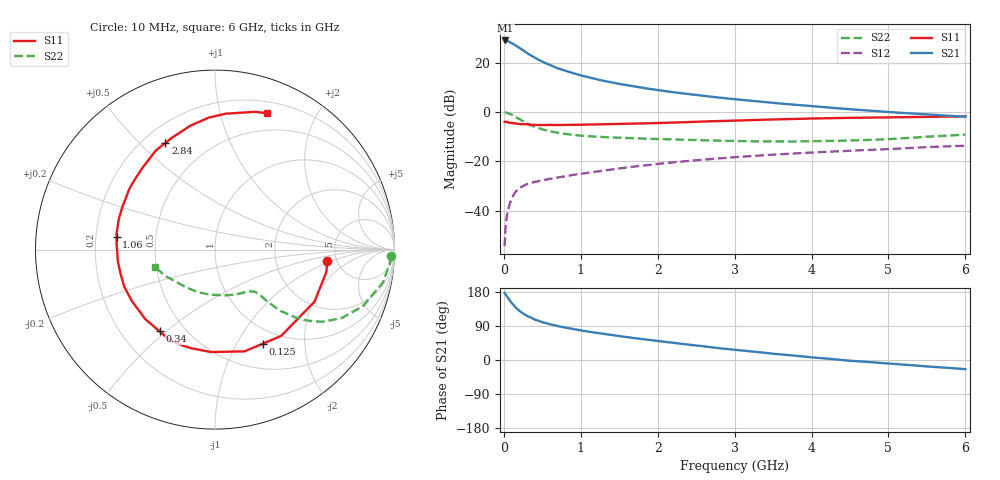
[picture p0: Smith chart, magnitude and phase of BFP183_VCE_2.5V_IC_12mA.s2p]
! Infineon Technologies  Discrete & RF Semiconductors
! BFP183
! VCE = 2.5 V,  IC =  12 mA
! Common Emitter S-Parameters:  Jan 2016
# GHz  S  MA  R  50
!  f  S11  S21  S12  S22
! GHz  MAG  ANG  MAG  ANG  MAG  ANG  MAG  ANG
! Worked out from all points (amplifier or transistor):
!   210 points, 10 MHz to 6 GHz, reference 50 ohm
!   highest |S21| = 29.0 dB at 20 MHz (marker M1)
!   |S21| within 3 dB of that: start of sweep to 201.8 MHz
!   unconditionally stable (mu >= 1): 1.035 GHz to 5.496 GHz
!   at 185 MHz: K = 0.29, MSG = 28.9 dB, |S12| = -31.4 dB
!   at 1.52 GHz: K = 1.12, MAG = 14.9 dB, |S12| = -22.8 dB
!   at 6 GHz: K = 0.97, MSG = 5.9 dB, |S12| = -13.7 dB
!   S11 on the Smith chart (normalised r, x): 10 MHz: 4.20, -0.85; 125 MHz: 0.81, -1.29; 340 MHz: 0.36, -0.47; 1.06 GHz: 0.29, +0.06; 2.84 GHz: 0.29, +0.60; 6 GHz: 0.31, +1.40
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0.01  0.6283 -5.6  28.12 177.0  0.0019 79.8  0.9798 -2.2
0.02  0.633 -11.3  28.12 174.1  0.0041 80.2  0.9773 -4.5
0.055  0.6189 -30.0  27.18 163.4  0.0103 78.5  0.9451 -12.0
0.1  0.6059 -52.5  25.12 151.0  0.0174 67.4  0.8828 -20.9
0.125  0.5879 -63.0  23.68 145.5  0.0206 63.1  0.8401 -24.5
0.15  0.5905 -73.8  22.49 139.3  0.0239 60.0  0.801 -28.5
0.2  0.5712 -92.2  20 129.9  0.0282 54.8  0.7192 -34.0
0.26  0.5645 -108.3  17.17 121.4  0.0321 50.0  0.636 -38.1
0.34  0.5502 -124.1  14.38 113.2  0.0358 46.7  0.5539 -41.2
0.4  0.5485 -135.0  12.6 106.8  0.0382 44.6  0.5023 -43.0
0.5  0.5448 -148.3  10.39 99.8  0.0409 42.9  0.4433 -44.2
0.6  0.5462 -157.9  8.909 94.2  0.0442 43.6  0.4043 -44.8
0.8  0.5449 -173.1  6.823 85.3  0.0495 43.8  0.358 -45.3
1.02  0.5515 174.4  5.405 77.5  0.056 45.4  0.3286 -46.4
1.06  0.5533 172.5  5.218 76.1  0.0573 45.6  0.3251 -46.7
1.5  0.5688 154.6  3.708 63.0  0.0717 46.1  0.3002 -51.1
2.02  0.5972 136.6  2.739 49.7  0.089 45.1  0.2829 -59.5
2.84  0.6548 115.0  1.923 30.3  0.1159 40.5  0.2607 -77.8
3.1  0.6726 109.2  1.75 25.1  0.1239 38.7  0.2548 -84.7
4.1  0.7399 91.2  1.274 5.4  0.1532 31.2  0.2555 -114.5
5.1  0.7792 78.3  0.974 -10.7  0.1796 24.4  0.2863 -142.8
6  0.814 69.2  0.798 -24.1  0.2068 16.5  0.3473 -163.7
